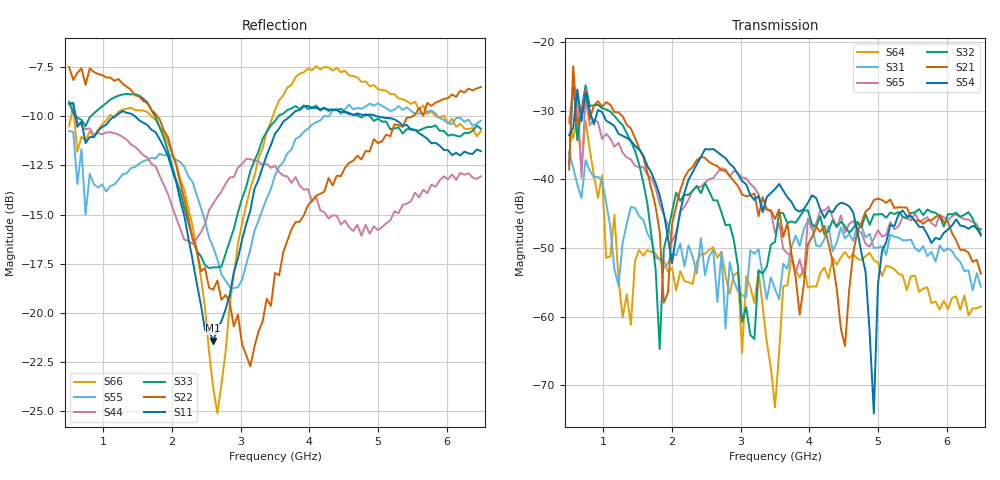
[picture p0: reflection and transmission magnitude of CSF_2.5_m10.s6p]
!Keysight Technologies,M9804A,MY58100912,A.14.10.03
!Date: Thursday, April 27, 2023 10:28:33
!Correction: S11(C  6-Port  )
!S12(C  6-Port  )
!S13(C  6-Port  )
!S14(C  6-Port  )
!S15(C  6-Port  )
!S16(C  6-Port  )
!S21(C  6-Port  )
!S22(C  6-Port  )
!S23(C  6-Port  )
!S24(C  6-Port  )
!S25(C  6-Port  )
!S26(C  6-Port  )
!S31(C  6-Port  )
!S32(C  6-Port  )
!S33(C  6-Port  )
!S34(C  6-Port  )
!S35(C  6-Port  )
!S36(C  6-Port  )
!S41(C  6-Port  )
!S42(C  6-Port  )
!S43(C  6-Port  )
!S44(C  6-Port  )
!S45(C  6-Port  )
!S46(C  6-Port  )
!S51(C  6-Port  )
!S52(C  6-Port  )
!S53(C  6-Port  )
!S54(C  6-Port  )
!S55(C  6-Port  )
!S56(C  6-Port  )
!S61(C  6-Port  )
!S62(C  6-Port  )
!S63(C  6-Port  )
!S64(C  6-Port  )
!S65(C  6-Port  )
!S66(C  6-Port  )
!S6P File: Measurement: :
# Hz S  RI  R 50
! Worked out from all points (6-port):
!   101 points, 500 MHz to 6.5 GHz, reference 50 ohm
!   strongest paths, dB at 500 MHz, 2 GHz, 3.5 GHz, 5 GHz, 6.5 GHz:
!     S54: -33.6, -52.2, -41.4, -55.3, -48.2
!     S21: -38.6, -46.5, -45.8, -42.8, -53.8
!     S32: -37.9, -44.7, -49.1, -45.1, -47.3
!     S65: -31.8, -49.1, -47.8, -47.4, -47.9
!     S31: -36.1, -50.9, -56.0, -50.0, -55.6
!     S64: -31.0, -52.9, -73.2, -52.1, -58.5
!   lowest |S11| = -21.4 dB at 2.6 GHz (marker M1), VSWR 1.19, Z = 42.5 + j2.26 ohm
!   |S11| at or under -10 dB: 593.9 MHz to 1.157 GHz (563.3 MHz wide, 64.3 % of centre); 1.463 GHz to 3.716 GHz (2.253 GHz wide, 87 % of centre); 4.991 GHz to end of sweep
